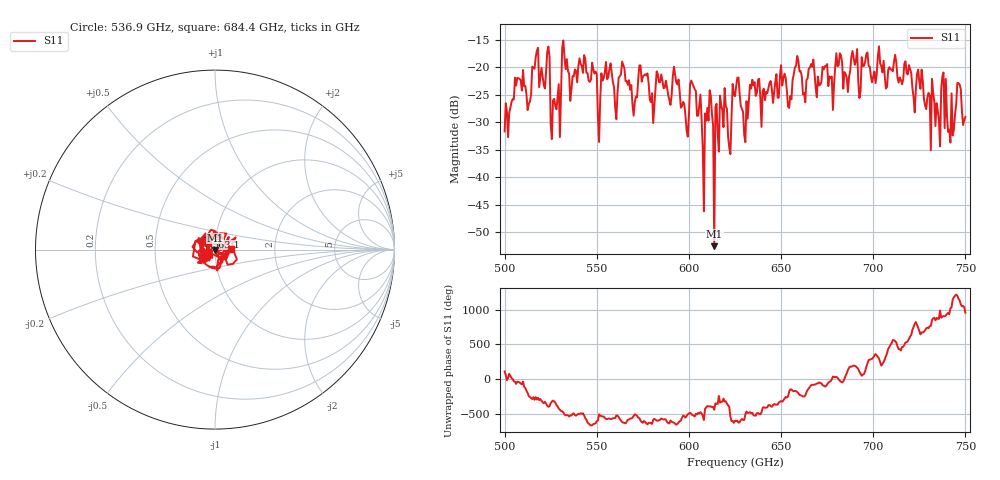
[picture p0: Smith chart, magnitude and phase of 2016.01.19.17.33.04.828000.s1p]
!Created with skrf (http://scikit-rf.org).
# GHz S RI R 50.0
!freq ReS11 ImS11
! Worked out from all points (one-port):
!   401 points, 500 GHz to 750 GHz, reference 50 ohm
!   lowest |S11| = -52.5 dB at 613.8 GHz (marker M1), VSWR 1.00, Z = 50 - j0.234 ohm
!   |S11| at or under -10 dB: start of sweep to end of sweep
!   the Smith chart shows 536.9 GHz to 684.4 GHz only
!   S11 on the Smith chart (normalised r, x): 536.9 GHz: 0.87, -0.09; 563.1 GHz: 0.90, +0.13; 684.4 GHz: 1.20, +0.01
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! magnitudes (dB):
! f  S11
! 500 GHz  -31.7
! 506.9 GHz  -21.9
! 513.1 GHz  -26.6
! 516.9 GHz  -18.2
! 523.1 GHz  -17.3
! 526.2 GHz  -26.1
! 531.2 GHz  -16.4
! 536.9 GHz  -21.6
! 562.5 GHz  -21.6
! 563.1 GHz  -21.3
! 570.6 GHz  -26.4
! 574.4 GHz  -22.6
! 580 GHz  -24.7
! 593.8 GHz  -23.1
! 602.5 GHz  -23.5
! 608.1 GHz  -46.2
! 611.2 GHz  -24.2
! 613.8 GHz  -52.5
! 618.1 GHz  -27.8
! 621.9 GHz  -34.6
! 625 GHz  -25.3
! 630.6 GHz  -33.6
! 634.4 GHz  -22.3
! 656.2 GHz  -22.3
! 684.4 GHz  -20.9
! 687.5 GHz  -20.7
! 718.8 GHz  -21.3
! 750 GHz  -29.0
